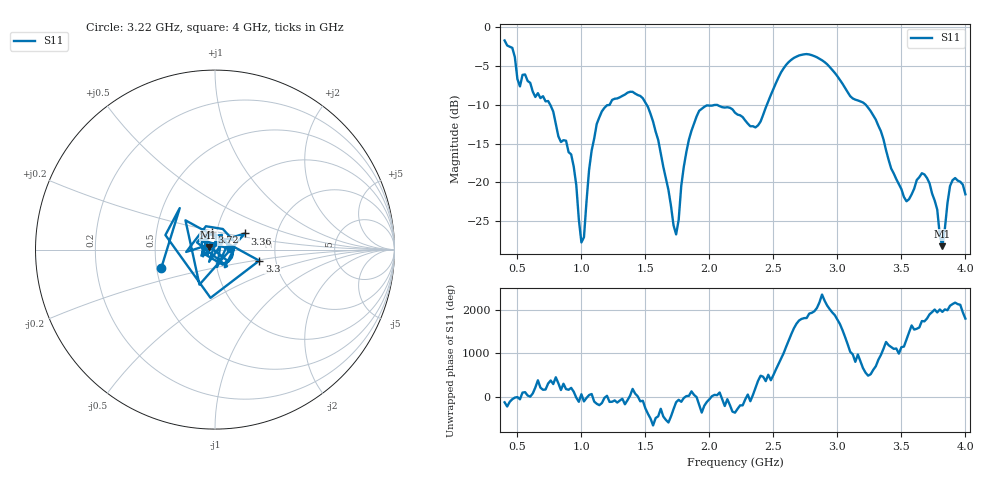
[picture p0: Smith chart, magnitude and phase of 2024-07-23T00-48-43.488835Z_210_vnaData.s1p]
!Created with skrf (http://scikit-rf.org).
# Hz S RI R 50.0
!freq ReS11 ImS11
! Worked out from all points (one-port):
!   181 points, 400 MHz to 4 GHz, reference 50 ohm
!   lowest |S11| = -28.2 dB at 3.82 GHz (marker M1), VSWR 1.08, Z = 46.5 + j1.43 ohm
!   |S11| at or under -10 dB: 756.5 MHz to 1.22 GHz (463.7 MHz wide, 46.9 % of centre); 1.51 GHz to 2.449 GHz (938.4 MHz wide, 47.4 % of centre); 3.222 GHz to end of sweep
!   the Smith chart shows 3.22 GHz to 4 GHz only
!   S11 on the Smith chart (normalised r, x): 3.22 GHz: 0.53, -0.12; 3.3 GHz: 1.64, -0.22; 3.36 GHz: 1.37, +0.26; 3.72 GHz: 0.95, +0.19; 4 GHz: 1.18, +0.01
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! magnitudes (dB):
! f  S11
! 400 MHz  -1.7
! 460 MHz  -2.6
! 520 MHz  -7.6
! 740 MHz  -9.5
! 860 MHz  -14.6
! 940 MHz  -18.0
! 1 GHz  -27.8
! 1.12 GHz  -12.4
! 1.3 GHz  -9.0
! 1.52 GHz  -10.3
! 1.72 GHz  -25.6
! 1.76 GHz  -24.8
! 1.82 GHz  -16.1
! 1.92 GHz  -10.8
! 2.2 GHz  -11.0
! 2.38 GHz  -12.6
! 2.66 GHz  -3.9
! 2.88 GHz  -4.2
! 3.1 GHz  -8.9
! 3.22 GHz  -10.0
! 3.3 GHz  -11.9
! 3.36 GHz  -14.5
! 3.56 GHz  -22.2
! 3.66 GHz  -18.8
! 3.72 GHz  -20.1
! 3.82 GHz  -28.2
! 3.9 GHz  -19.7
! 4 GHz  -21.5
